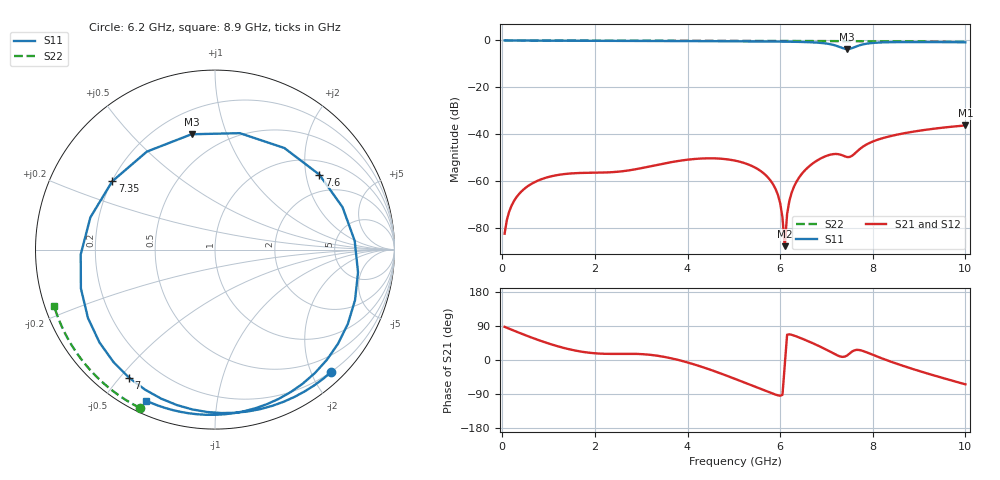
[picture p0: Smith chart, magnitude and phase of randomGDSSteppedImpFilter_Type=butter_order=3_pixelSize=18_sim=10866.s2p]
! freq	dB(S11)	phase(S11)	dB(S12)	phase(S12)
!  dB(S21)	phase(S21)	dB(S22)	phase(S22)
!S-par simulation data
#  GHz  S  DB  R 50
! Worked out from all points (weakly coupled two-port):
!   200 points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, 50 MHz to 10 GHz, reference 50 ohm
!   highest |S21| = -36.17 dB at 10 GHz (marker M1); lowest = -87.5 dB at 6.1 GHz (marker M2)
!   lowest |S11| = -3.7 dB at 7.45 GHz (marker M3), VSWR 4.81, Z = 16.8 + j38 ohm
!   |S11| at or under -10 dB: nowhere
!   |S22| runs from -0.6 to 0.0 dB; largest |S21 - S12| = 0
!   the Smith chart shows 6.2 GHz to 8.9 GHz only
!   S11 on the Smith chart (normalised r, x): 6.2 GHz: 0.20, -2.32; 7 GHz: 0.10, -0.53; 7.35 GHz: 0.20, +0.29; 7.6 GHz: 1.39, +2.39; 8.9 GHz: 0.05, -0.64
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0.05  -0.00 -4.1  -82.22 87.5  -82.22 87.5  -0.00 -1.0
0.25  -0.03 -20.1  -68.39 77.4  -68.39 77.4  -0.01 -5.1
0.55  -0.06 -43.6  -62.01 63.0  -62.01 63.0  -0.01 -11.2
1.1  -0.10 -84.0  -57.60 39.7  -57.60 39.7  -0.03 -22.3
1.75  -0.14 -126.4  -56.34 21.2  -56.34 21.2  -0.04 -35.1
2.55  -0.17 -173.1  -55.75 16.3  -55.75 16.3  -0.06 -50.6
3.4  -0.22 138.8  -52.72 10.3  -52.72 10.3  -0.09 -66.5
4.25  -0.28 87.4  -50.29 -15.8  -50.29 -15.8  -0.12 -81.9
5.05  -0.35 34.5  -51.23 -51.0  -51.23 -51.0  -0.15 -95.9
5.8  -0.45 -17.6  -59.82 -87.0  -59.82 -87.0  -0.19 -108.7
6.1  -0.51 -39.0  -87.52 -11.3  -87.52 -11.3  -0.20 -113.7
6.2  -0.53 -46.4  -68.15 67.7  -68.15 67.7  -0.21 -115.4
6.7  -0.81 -87.8  -52.39 44.5  -52.39 44.5  -0.24 -123.7
7  -1.32 -123.9  -49.11 27.0  -49.11 27.0  -0.26 -128.7
7.2  -2.18 -163.9  -48.29 14.2  -48.29 14.2  -0.28 -132.0
7.35  -3.26 146.4  -48.92 8.2  -48.92 8.2  -0.29 -134.5
7.45  -3.66 101.5  -49.62 12.2  -49.62 12.2  -0.30 -136.2
7.6  -2.90 35.7  -48.31 25.4  -48.31 25.4  -0.31 -138.7
7.95  -1.16 -44.6  -43.42 16.2  -43.42 16.2  -0.35 -144.6
8.35  -0.75 -83.2  -40.85 -2.6  -40.85 -2.6  -0.39 -151.3
8.9  -0.68 -114.6  -38.72 -25.1  -38.72 -25.1  -0.45 -160.8
10  -0.78 -158.5  -36.17 -64.2  -36.17 -64.2  -0.59 179.2
